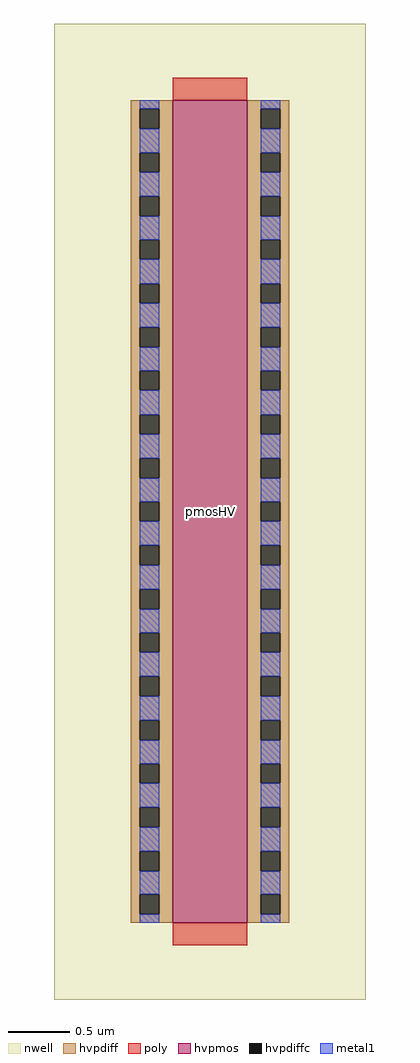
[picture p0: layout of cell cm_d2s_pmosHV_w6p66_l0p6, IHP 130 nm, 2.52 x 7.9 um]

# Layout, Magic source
magic
tech ihp-sg13cmos5l
magscale 1 2
<< nwell >>
rect -124 -124 380 1456
<< hvpmos >>
rect 68 0 188 1332
<< hvpdiff >>
rect 0 1318 68 1332
rect 0 1286 14 1318
rect 46 1286 68 1318
rect 0 1247 68 1286
rect 0 1215 14 1247
rect 46 1215 68 1247
rect 0 1176 68 1215
rect 0 1144 14 1176
rect 46 1144 68 1176
rect 0 1106 68 1144
rect 0 1074 14 1106
rect 46 1074 68 1106
rect 0 1035 68 1074
rect 0 1003 14 1035
rect 46 1003 68 1035
rect 0 964 68 1003
rect 0 932 14 964
rect 46 932 68 964
rect 0 894 68 932
rect 0 862 14 894
rect 46 862 68 894
rect 0 823 68 862
rect 0 791 14 823
rect 46 791 68 823
rect 0 752 68 791
rect 0 720 14 752
rect 46 720 68 752
rect 0 682 68 720
rect 0 650 14 682
rect 46 650 68 682
rect 0 611 68 650
rect 0 579 14 611
rect 46 579 68 611
rect 0 540 68 579
rect 0 508 14 540
rect 46 508 68 540
rect 0 470 68 508
rect 0 438 14 470
rect 46 438 68 470
rect 0 399 68 438
rect 0 367 14 399
rect 46 367 68 399
rect 0 328 68 367
rect 0 296 14 328
rect 46 296 68 328
rect 0 258 68 296
rect 0 226 14 258
rect 46 226 68 258
rect 0 187 68 226
rect 0 155 14 187
rect 46 155 68 187
rect 0 116 68 155
rect 0 84 14 116
rect 46 84 68 116
rect 0 46 68 84
rect 0 14 14 46
rect 46 14 68 46
rect 0 0 68 14
rect 188 1318 256 1332
rect 188 1286 210 1318
rect 242 1286 256 1318
rect 188 1247 256 1286
rect 188 1215 210 1247
rect 242 1215 256 1247
rect 188 1176 256 1215
rect 188 1144 210 1176
rect 242 1144 256 1176
rect 188 1106 256 1144
rect 188 1074 210 1106
rect 242 1074 256 1106
rect 188 1035 256 1074
rect 188 1003 210 1035
rect 242 1003 256 1035
rect 188 964 256 1003
rect 188 932 210 964
rect 242 932 256 964
rect 188 894 256 932
rect 188 862 210 894
rect 242 862 256 894
rect 188 823 256 862
rect 188 791 210 823
rect 242 791 256 823
rect 188 752 256 791
rect 188 720 210 752
rect 242 720 256 752
rect 188 682 256 720
rect 188 650 210 682
rect 242 650 256 682
rect 188 611 256 650
rect 188 579 210 611
rect 242 579 256 611
rect 188 540 256 579
rect 188 508 210 540
rect 242 508 256 540
rect 188 470 256 508
rect 188 438 210 470
rect 242 438 256 470
rect 188 399 256 438
rect 188 367 210 399
rect 242 367 256 399
rect 188 328 256 367
rect 188 296 210 328
rect 242 296 256 328
rect 188 258 256 296
rect 188 226 210 258
rect 242 226 256 258
rect 188 187 256 226
rect 188 155 210 187
rect 242 155 256 187
rect 188 116 256 155
rect 188 84 210 116
rect 242 84 256 116
rect 188 46 256 84
rect 188 14 210 46
rect 242 14 256 46
rect 188 0 256 14
<< hvpdiffc >>
rect 14 1286 46 1318
rect 14 1215 46 1247
rect 14 1144 46 1176
rect 14 1074 46 1106
rect 14 1003 46 1035
rect 14 932 46 964
rect 14 862 46 894
rect 14 791 46 823
rect 14 720 46 752
rect 14 650 46 682
rect 14 579 46 611
rect 14 508 46 540
rect 14 438 46 470
rect 14 367 46 399
rect 14 296 46 328
rect 14 226 46 258
rect 14 155 46 187
rect 14 84 46 116
rect 14 14 46 46
rect 210 1286 242 1318
rect 210 1215 242 1247
rect 210 1144 242 1176
rect 210 1074 242 1106
rect 210 1003 242 1035
rect 210 932 242 964
rect 210 862 242 894
rect 210 791 242 823
rect 210 720 242 752
rect 210 650 242 682
rect 210 579 242 611
rect 210 508 242 540
rect 210 438 242 470
rect 210 367 242 399
rect 210 296 242 328
rect 210 226 242 258
rect 210 155 242 187
rect 210 84 242 116
rect 210 14 242 46
<< poly >>
rect 68 1332 188 1368
rect 68 -36 188 0
<< metal1 >>
rect 14 1318 46 1332
rect 14 1247 46 1286
rect 14 1176 46 1215
rect 14 1106 46 1144
rect 14 1035 46 1074
rect 14 964 46 1003
rect 14 894 46 932
rect 14 823 46 862
rect 14 752 46 791
rect 14 682 46 720
rect 14 611 46 650
rect 14 540 46 579
rect 14 470 46 508
rect 14 399 46 438
rect 14 328 46 367
rect 14 258 46 296
rect 14 187 46 226
rect 14 116 46 155
rect 14 46 46 84
rect 14 0 46 14
rect 210 1318 242 1332
rect 210 1247 242 1286
rect 210 1176 242 1215
rect 210 1106 242 1144
rect 210 1035 242 1074
rect 210 964 242 1003
rect 210 894 242 932
rect 210 823 242 862
rect 210 752 242 791
rect 210 682 242 720
rect 210 611 242 650
rect 210 540 242 579
rect 210 470 242 508
rect 210 399 242 438
rect 210 328 242 367
rect 210 258 242 296
rect 210 187 242 226
rect 210 116 242 155
rect 210 46 242 84
rect 210 0 242 14
<< labels >>
flabel comment s 128 666 128 666 0 FreeSans 200 90 0 0 pmosHV
<< properties >>
string GDS_END 29752
string GDS_FILE custom_io/gds/sg13cmos5l_IOPadDiff2Single.uniq.gds
string GDS_START 26342
<< end >>
